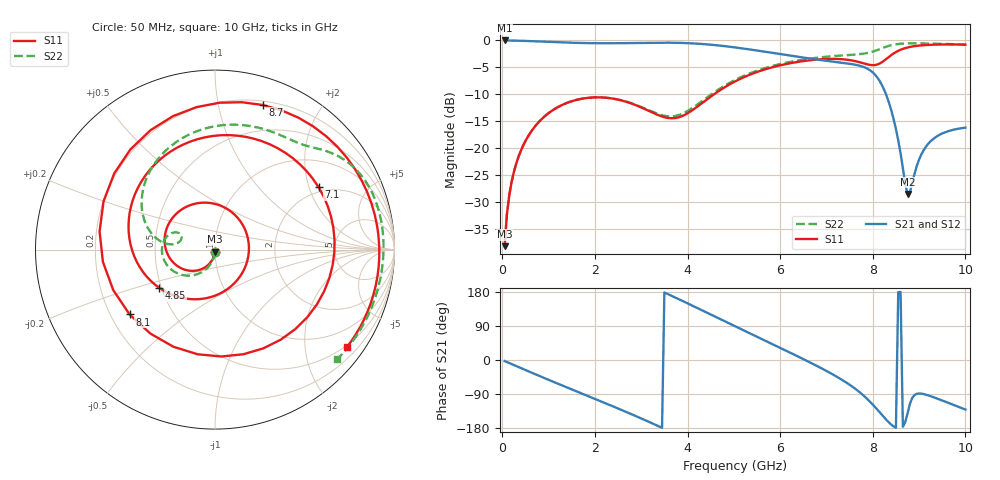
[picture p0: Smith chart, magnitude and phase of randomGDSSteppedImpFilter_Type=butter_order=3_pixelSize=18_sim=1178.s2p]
! freq	dB(S11)	phase(S11)	dB(S12)	phase(S12)
!  dB(S21)	phase(S21)	dB(S22)	phase(S22)
!S-par simulation data
#  GHz  S  DB  R 50
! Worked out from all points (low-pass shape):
!   200 points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, 50 MHz to 10 GHz, reference 50 ohm
!   highest |S21| = -0.01 dB at 50 MHz (marker M1); lowest = -28.6 dB at 8.75 GHz (marker M2)
!   |S21| within 3 dB of the highest: start of sweep to 6.355 GHz
!   lowest |S11| = -38.3 dB at 50 MHz (marker M3), VSWR 1.02, Z = 49.9 - j1.22 ohm
!   |S11| at or under -10 dB: start of sweep to 4.575 GHz
!   |S22| runs from -38.3 to -0.5 dB; largest |S21 - S12| = 0
!   S11 on the Smith chart (normalised r, x): 50 MHz: 1.00, -0.02; 4.85 GHz: 0.49, -0.24; 7.1 GHz: 1.82, +2.32; 8.1 GHz: 0.28, -0.31; 8.7 GHz: 0.24, +1.35; 10 GHz: 0.45, -2.96
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0.05  -38.28 -92.5  -0.01 -2.7  -0.01 -2.7  -38.27 -91.9
0.2  -26.38 -102.1  -0.03 -10.7  -0.03 -10.7  -26.38 -99.6
0.5  -18.72 -120.1  -0.09 -26.5  -0.09 -26.5  -18.71 -113.9
1.15  -12.65 -158.3  -0.31 -60.0  -0.31 -60.0  -12.65 -143.0
1.75  -10.80 166.0  -0.48 -90.1  -0.48 -90.1  -10.80 -167.5
2.55  -11.11 112.7  -0.51 -130.5  -0.51 -130.5  -11.09 165.4
3.4  -14.00 30.8  -0.42 -176.1  -0.42 -176.1  -13.78 157.0
4.05  -13.30 -60.3  -0.53 146.6  -0.53 146.6  -12.87 172.1
4.85  -8.47 -145.7  -1.11 99.4  -1.11 99.4  -8.17 162.6
5.05  -7.52 -162.9  -1.33 87.7  -1.33 87.7  -7.25 156.2
5.8  -5.07 137.6  -2.27 43.8  -2.27 43.8  -4.83 128.2
6.7  -3.63 66.7  -3.44 -9.8  -3.44 -9.8  -3.32 92.2
7.1  -3.43 31.1  -3.90 -35.5  -3.90 -35.5  -2.95 76.4
7.6  -3.81 -28.3  -4.48 -73.9  -4.48 -73.9  -2.64 58.4
7.9  -4.49 -86.6  -5.33 -105.0  -5.33 -105.0  -2.31 49.4
8.1  -4.47 -142.8  -6.91 -131.2  -6.91 -131.2  -1.79 43.2
8.35  -3.05 143.0  -11.58 -164.9  -11.58 -164.9  -1.00 32.3
8.5  -2.16 107.4  -16.47 -179.0  -16.47 -179.0  -0.71 24.5
8.7  -1.43 71.8  -26.59 -164.0  -26.59 -164.0  -0.56 14.3
8.75  -1.31 64.5  -28.59 -141.6  -28.59 -141.6  -0.55 11.9
9.25  -0.81 12.3  -18.75 -95.4  -18.75 -95.4  -0.58 -10.6
10  -0.78 -36.6  -16.22 -130.7  -16.22 -130.7  -0.77 -42.0
